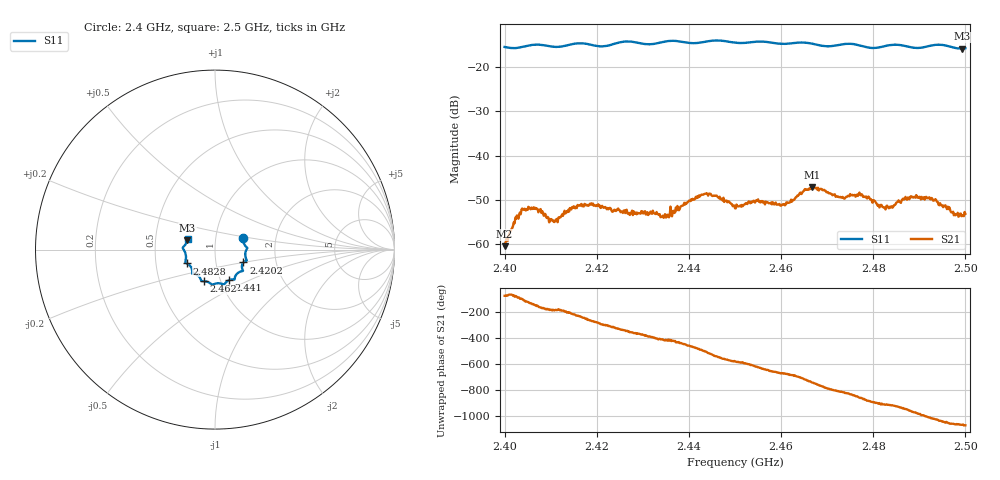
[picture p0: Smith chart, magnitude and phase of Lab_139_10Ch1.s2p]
# Hz S RI R 50
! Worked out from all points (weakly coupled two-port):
!   601 points, 2.4 GHz to 2.5 GHz, reference 50 ohm
!   highest |S21| = -47.13 dB at 2.4667 GHz (marker M1); lowest = -60.5 dB at 2.4 GHz (marker M2)
!   lowest |S11| = -15.8 dB at 2.4993 GHz (marker M3), VSWR 1.39, Z = 36.5 + j3.89 ohm
!   |S11| at or under -10 dB: start of sweep to end of sweep
!   S12 and S22 are empty: the file has one direction only
!   S11 on the Smith chart (normalised r, x): 2.4 GHz: 1.36, +0.17; 2.4202 GHz: 1.36, -0.20; 2.441 GHz: 1.10, -0.39; 2.462 GHz: 0.84, -0.30; 2.4828 GHz: 0.72, -0.11; 2.5 GHz: 0.73, +0.09
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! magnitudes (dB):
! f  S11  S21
! 2.4 GHz  -15.4  -60.5
! 2.4023 GHz  -15.7  -54.0
! 2.4042 GHz  -15.3  -52.3
! 2.4067 GHz  -14.9  -51.8
! 2.411 GHz  -15.4  -54.7
! 2.4167 GHz  -14.6  -50.9
! 2.4202 GHz  -15.2  -51.3
! 2.4333 GHz  -14.5  -53.3
! 2.4353 GHz  -14.1  -53.4
! 2.441 GHz  -14.5  -49.9
! 2.4442 GHz  -14.1  -49.1
! 2.45 GHz  -14.4  -51.9
! 2.462 GHz  -14.6  -50.5
! 2.4667 GHz  -14.6  -47.1
! 2.4733 GHz  -14.8  -49.3
! 2.4773 GHz  -15.1  -49.0
! 2.4828 GHz  -15.1  -51.4
! 2.4833 GHz  -15.0  -51.9
! 2.488 GHz  -15.4  -49.4
! 2.4918 GHz  -15.3  -49.6
! 2.4993 GHz  -15.8  -53.7
! 2.5 GHz  -15.7  -53.2
